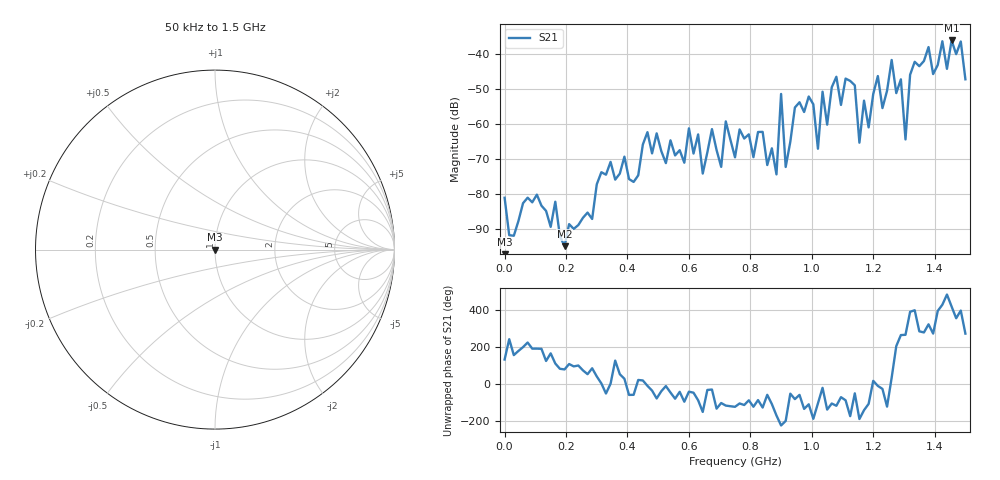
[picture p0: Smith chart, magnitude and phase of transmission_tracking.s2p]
! Created with skrf 1.8.0 (http://scikit-rf.org).
# Hz S RI R 50.0
!freq ReS11 ImS11 ReS21 ImS21 ReS12 ImS12 ReS22 ImS22
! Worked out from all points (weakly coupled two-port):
!   101 points, 50 kHz to 1.5 GHz, reference 50 ohm
!   highest |S21| = -36.20 dB at 1.455 GHz (marker M1); lowest = -95.0 dB at 195 MHz (marker M2)
!   lowest |S11| = - dB at 50 kHz (marker M3), VSWR 1.00, Z = 50 + j0 ohm
!   |S11| at or under -10 dB: start of sweep to end of sweep
!   S12 and S22 are empty: the file has one direction only
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50000  0 0  -6.06e-05 6.35e-05  0 0  0 0
1.950435e8  0 0  3.14e-06 1.76e-05  0 0  0 0
2.550415e8  0 0  1.19e-05 4.38e-05  0 0  0 0
5.10033e8  0 0  0.000319 -0.000254  0 0  0 0
7.050265e8  0 0  -5.23e-05 -0.000237  0 0  0 0
7.20026e8  0 0  -0.000481 -0.000969  0 0  0 0
7.50025e8  0 0  -0.000181 -0.000278  0 0  0 0
8.40022e8  0 0  -0.000462 -0.000611  0 0  0 0
8.850205e8  0 0  -0.000186 -3.26e-05  0 0  0 0
9.0002e8  0 0  -0.00191 0.00186  0 0  0 0
9.150195e8  0 0  -0.000227 8.15e-05  0 0  0 0
9.450185e8  0 0  0.00026 -0.00169  0 0  0 0
1.005016e9  0 0  -0.00188 0.000268  0 0  0 0
1.020016e9  0 0  -0.000109 -0.000426  0 0  0 0
1.035016e9  0 0  0.0027 -0.000975  0 0  0 0
1.125012e9  0 0  -0.00407 -0.000447  0 0  0 0
1.155012e9  0 0  -0.000529 8.74e-05  0 0  0 0
1.260008e9  0 0  0.00667 0.00469  0 0  0 0
1.305006e9  0 0  -2.24e-05 -0.000597  0 0  0 0
1.335006e9  0 0  0.00577 0.00506  0 0  0 0
1.455002e9  0 0  0.00731 0.0137  0 0  0 0
1.5e9  0 0  0.000327 -0.00431  0 0  0 0
